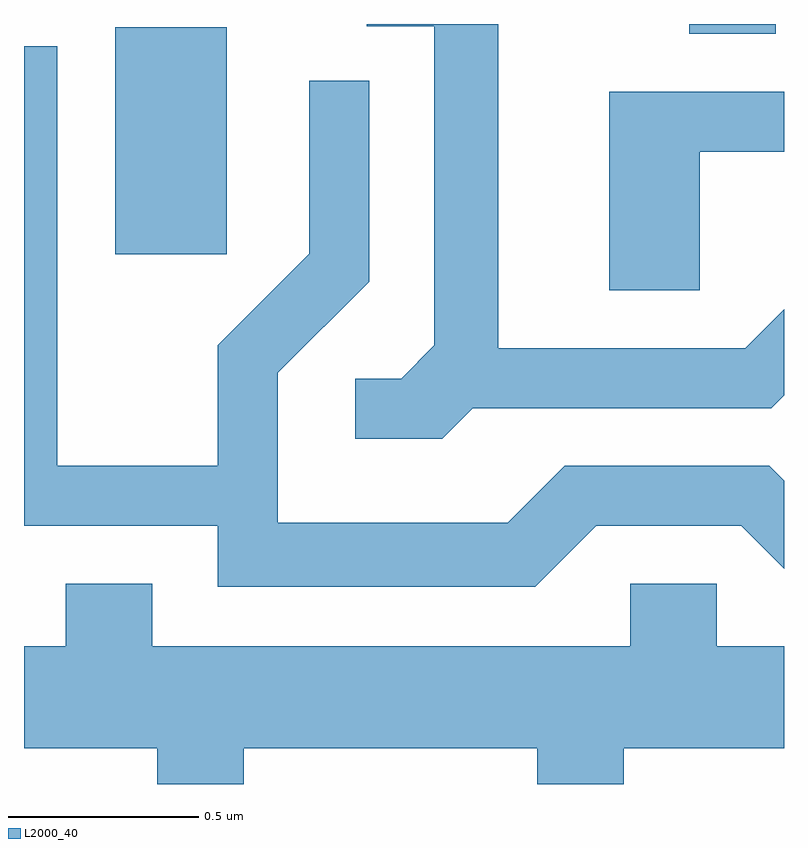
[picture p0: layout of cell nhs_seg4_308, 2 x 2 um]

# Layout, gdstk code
import gdstk
lib = gdstk.Library(unit=1e-6, precision=1e-09)
def R(c, l, rs):  # rectangles x0, y0, x1, y1
    for r in rs: c.add(gdstk.rectangle(r[:2], r[2:], *l))
def P(c, l, *ps):  # polygons
    for p in ps: c.add(gdstk.Polygon(p, *l))
L2000_40 = (2000, 40)

nhs_seg4_308 = lib.new_cell('nhs_seg4_308')
R(nhs_seg4_308, L2000_40, [(187.851,1289.376,188.144,1289.974), (189.361,1289.956,189.589,1289.982)])
P(nhs_seg4_308, L2000_40, [(188.792,1288.971),(189.577,1288.971),(189.611,1289.005),(189.611,1289.232),(189.509,1289.129),(188.859,1289.129),(188.859,1289.982),(188.513,1289.982),(188.513,1289.976),(188.691,1289.976),(188.691,1289.137),(188.604,1289.049),(188.483,1289.049),(188.483,1288.891),(188.712,1288.891)],
  [(189.117,1288.661),(189.499,1288.661),(189.611,1288.549),(189.611,1288.78),(189.572,1288.819),(189.034,1288.819),(188.884,1288.669),(188.279,1288.669),(188.279,1289.064),(188.519,1289.304),(188.519,1289.833),(188.361,1289.833),(188.361,1289.377),(188.121,1289.137),(188.121,1288.819),(187.699,1288.819),(187.699,1289.924),(187.611,1289.924),(187.611,1288.661),(188.121,1288.661),(188.121,1288.501),(188.957,1288.501)],
  [(189.389,1289.646),(189.611,1289.646),(189.611,1289.804),(189.151,1289.804),(189.151,1289.281),(189.389,1289.281)],
  [(188.189,1288.076),(188.961,1288.076),(188.961,1287.982),(189.189,1287.982),(189.189,1288.076),(189.611,1288.076),(189.611,1288.344),(189.434,1288.344),(189.434,1288.509),(189.206,1288.509),(189.206,1288.344),(187.949,1288.344),(187.949,1288.509),(187.721,1288.509),(187.721,1288.344),(187.611,1288.344),(187.611,1288.076),(187.961,1288.076),(187.961,1287.982),(188.189,1287.982)])

lib.write_gds('nhs_seg4_308.gds')
